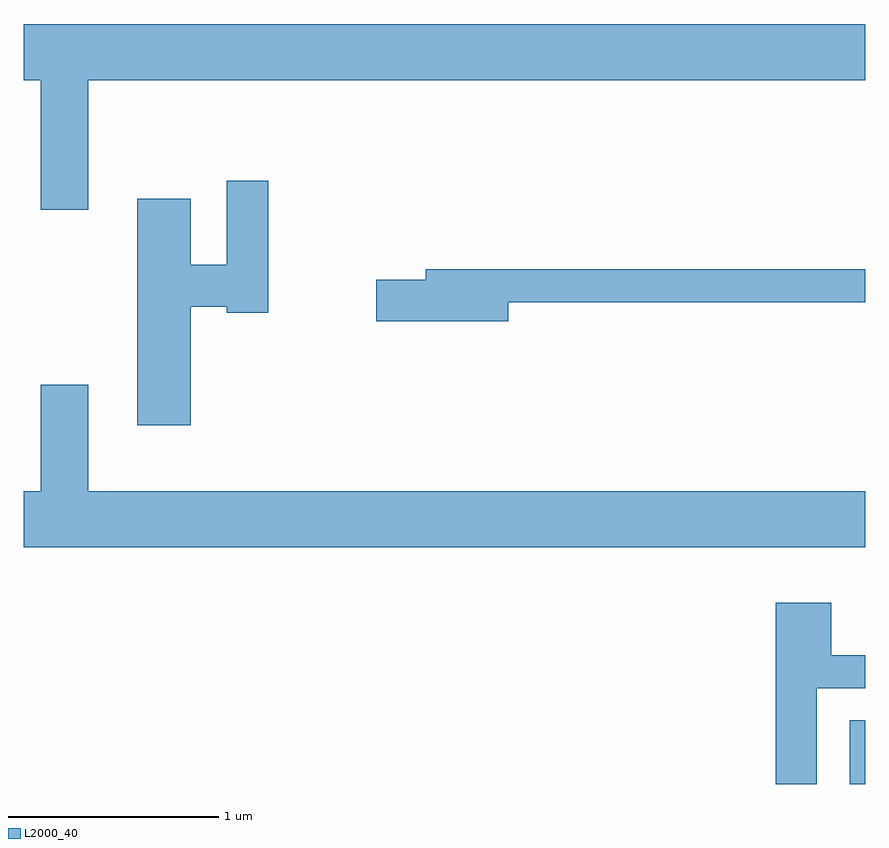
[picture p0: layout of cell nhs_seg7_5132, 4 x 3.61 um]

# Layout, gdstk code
import gdstk
lib = gdstk.Library(unit=1e-6, precision=1e-09)
def R(c, l, rs):  # rectangles x0, y0, x1, y1
    for r in rs: c.add(gdstk.rectangle(r[:2], r[2:], *l))
def P(c, l, *ps):  # polygons
    for p in ps: c.add(gdstk.Polygon(p, *l))
L2000_40 = (2000, 40)

nhs_seg7_5132 = lib.new_cell('nhs_seg7_5132')
R(nhs_seg7_5132, L2000_40, [(345.536,1764.252,345.611,1764.554)])
P(nhs_seg7_5132, L2000_40, [(341.919,1767.596),(345.611,1767.596),(345.611,1767.864),(341.611,1767.864),(341.611,1767.596),(341.691,1767.596),(341.691,1766.981),(341.919,1766.981)],
  [(342.404,1766.521),(342.576,1766.521),(342.576,1766.491),(342.774,1766.491),(342.774,1767.119),(342.576,1767.119),(342.576,1766.719),(342.404,1766.719),(342.404,1767.034),(342.151,1767.034),(342.151,1765.956),(342.404,1765.956)],
  [(343.914,1766.541),(345.611,1766.541),(345.611,1766.699),(343.521,1766.699),(343.521,1766.649),(343.286,1766.649),(343.286,1766.451),(343.914,1766.451)],
  [(345.611,1765.644),(341.919,1765.644),(341.919,1766.149),(341.691,1766.149),(341.691,1765.644),(341.611,1765.644),(341.611,1765.376),(345.611,1765.376)],
  [(345.379,1764.706),(345.611,1764.706),(345.611,1764.864),(345.449,1764.864),(345.449,1765.114),(345.186,1765.114),(345.186,1764.252),(345.379,1764.252)])

lib.write_gds('nhs_seg7_5132.gds')
